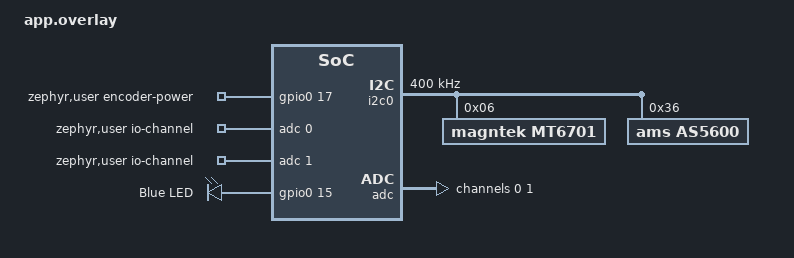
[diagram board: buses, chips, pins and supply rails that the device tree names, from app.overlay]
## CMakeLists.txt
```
cmake_minimum_required(VERSION 3.20.0)
find_package(Zephyr REQUIRED HINTS $ENV{ZEPHYR_BASE})

project(blescroll)

target_include_directories(app PRIVATE include)

target_sources(app PRIVATE
  src/main.c
  src/encoder.c
  src/encoder_math.c
  src/scroll_resolution.c
  src/ble_hid.c
  src/battery.c
  src/battery_math.c
  src/diagnostics.c
  src/heartbeat.c
)

# NCS 3.2.4 generates a UF2 whose blocks are relocated to the application
# partition, but whose reset vector is still linked at address zero.  Convert
# the correctly linked Intel HEX ourselves, preserving its physical addresses.
if(CONFIG_BLESCROLL_ENCODER_STARTUP_DIAGNOSTIC AND
   CONFIG_FLASH_BASE_ADDRESS STREQUAL "0x1000")
  set(UF2_OUTPUT_NAME blescroll_nosd_startup_diagnostic)
elseif(CONFIG_BLESCROLL_ENCODER_STARTUP_DIAGNOSTIC)
  set(UF2_OUTPUT_NAME blescroll_startup_diagnostic)
elseif(CONFIG_BLESCROLL_DIAGNOSTIC_BLE AND
       CONFIG_FLASH_BASE_ADDRESS STREQUAL "0x1000")
  set(UF2_OUTPUT_NAME blescroll_nosd_diagnostic_ble)
elseif(CONFIG_BLESCROLL_DIAGNOSTIC_BLE)
  set(UF2_OUTPUT_NAME blescroll_diagnostic_ble)
elseif(CONFIG_BLESCROLL_DIAGNOSTIC_MODE AND
       CONFIG_FLASH_BASE_ADDRESS STREQUAL "0x1000")
  set(UF2_OUTPUT_NAME blescroll_nosd_diagnostic)
elseif(CONFIG_BLESCROLL_DIAGNOSTIC_MODE)
  set(UF2_OUTPUT_NAME blescroll_diagnostic)
elseif(CONFIG_FLASH_BASE_ADDRESS STREQUAL "0x1000")
  set(UF2_OUTPUT_NAME blescroll_nosd)
else()
  set(UF2_OUTPUT_NAME blescroll)
endif()

add_custom_target(blescroll_uf2 ALL
  COMMAND ${Python3_EXECUTABLE} ${ZEPHYR_BASE}/scripts/build/uf2conv.py
    -c
    -f 0xada52840
    -o ${CMAKE_CURRENT_BINARY_DIR}/${UF2_OUTPUT_NAME}.uf2
    ${CMAKE_CURRENT_BINARY_DIR}/zephyr/zephyr.hex
  DEPENDS zephyr_final
  COMMENT "Generating correctly addressed ${UF2_OUTPUT_NAME}.uf2"
)
```

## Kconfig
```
mainmenu "AirScroll"

source "Kconfig.zephyr"

config BLESCROLL_RUNTIME_DIAGNOSTICS
	bool "Enable VBUS-gated runtime diagnostics"
	default n
	depends on SERIAL && USB_DEVICE_STACK_NEXT && USBD_CDC_ACM_CLASS && LOG
	help
	  Keep USB CDC and logging available in the product image, while enabling
	  the USB peripheral only when VBUS is present. Single-byte commands control
	  diagnostic output and the persistent Wheel resolution mode.

config BLESCROLL_DIAGNOSTIC_MODE
	bool "Enable USB diagnostic mode"
	default n
	help
	  Enable the USB CDC console and diagnostic-only application behaviour.
	  Normal battery firmware leaves this disabled and has no USB logging.

config BLESCROLL_DIAGNOSTIC_BLE
	bool "Enable Bluetooth while diagnostics are active"
	default n
	depends on BLESCROLL_DIAGNOSTIC_MODE
	help
	  Start Bluetooth and gate regular encoder sampling on an active BLE
	  connection while diagnostic mode is enabled.  If this is disabled,
	  regular diagnostic encoder sampling is allowed without a BLE connection.

config BLESCROLL_ENCODER_DIAGNOSTICS
	bool "Periodic encoder angle diagnostics"
	default n
	depends on BLESCROLL_DIAGNOSTIC_MODE && LOG
	help
	  Print rate-limited raw angle and Wheel data while the encoder is active.
	  Disable this option in builds used for power measurements.

config BLESCROLL_ENCODER_STARTUP_DIAGNOSTIC
	bool "Measure the detected encoder continuously for 50 ms after power-on"
	default n
	depends on BLESCROLL_DIAGNOSTIC_MODE && SERIAL
	help
	  Each byte received through USB CDC starts one power cycle. All angle
	  measurements collected during the first 50 ms are printed after sensor
	  power is switched off, so serial output cannot disturb the capture.
	  Bluetooth is controlled separately by BLESCROLL_DIAGNOSTIC_BLE.

config BLESCROLL_DIAGNOSTIC_START_GATE
	bool "Wait for a USB CDC byte before starting the application"
	default n
	depends on BLESCROLL_DIAGNOSTIC_MODE && SERIAL
	help
	  Wait for one byte on the console UART before initializing Bluetooth and
	  the encoder. This keeps the USB terminal attached while early startup
	  diagnostics are printed. Disable this option in normal firmware.
```

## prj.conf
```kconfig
# Core peripherals.
CONFIG_GPIO=y
CONFIG_ADC=y
CONFIG_I2C=y
# Keep both encoders on the same lightweight direct-register path.
CONFIG_AMS_AS5600=n

# The product image contains a dormant CDC ACM diagnostic channel. The USB
# device controller is enabled only while VBUS is present, and logging remains
# disabled until the host sends one uppercase D byte.
CONFIG_BOARD_SERIAL_BACKEND_CDC_ACM=y
CONFIG_SERIAL=y
CONFIG_UART_INTERRUPT_DRIVEN=y
CONFIG_USB_DEVICE_STACK_NEXT=y
CONFIG_USBD_CDC_ACM_CLASS=y
CONFIG_CDC_ACM_SERIAL_INITIALIZE_AT_BOOT=y
CONFIG_CDC_ACM_SERIAL_ENABLE_AT_BOOT=n
CONFIG_CDC_ACM_SERIAL_PRODUCT_STRING="AirScroll diagnostics"
CONFIG_CONSOLE=y
CONFIG_UART_CONSOLE=y
CONFIG_PRINTK=y
CONFIG_REBOOT=y
CONFIG_NCS_BOOT_BANNER=n
CONFIG_BOOT_BANNER=n
CONFIG_LOG=y
CONFIG_LOG_MODE_DEFERRED=y
CONFIG_LOG_RUNTIME_FILTERING=y
CONFIG_LOG_BACKEND_UART=y
CONFIG_LOG_BACKEND_UART_AUTOSTART=n
CONFIG_LOG_DEFAULT_LEVEL=3
CONFIG_LOG_MAX_LEVEL=3
CONFIG_LOG_BUFFER_SIZE=2048
CONFIG_LOG_PROCESS_THREAD_STACK_SIZE=1536
CONFIG_BLESCROLL_RUNTIME_DIAGNOSTICS=y

# BLE peripheral and persistent bonding.
CONFIG_BT=y
CONFIG_BT_PERIPHERAL=y
CONFIG_BT_SMP=y
CONFIG_BT_SETTINGS=y
CONFIG_BT_MAX_CONN=1
CONFIG_BT_MAX_PAIRED=2
CONFIG_BT_ATT_TX_COUNT=5
CONFIG_BT_DEVICE_NAME="AirScroll"
CONFIG_BT_DEVICE_APPEARANCE=962
CONFIG_BT_GATT_AUTO_SEC_REQ=n
CONFIG_BT_AUTO_PHY_UPDATE=n
CONFIG_BT_GAP_AUTO_UPDATE_CONN_PARAMS=y
CONFIG_BT_GAP_PERIPHERAL_PREF_PARAMS=y
CONFIG_BT_PERIPHERAL_PREF_MIN_INT=6
CONFIG_BT_PERIPHERAL_PREF_MAX_INT=8
CONFIG_BT_PERIPHERAL_PREF_LATENCY=0
CONFIG_BT_PERIPHERAL_PREF_TIMEOUT=42
CONFIG_BT_CONN_PARAM_UPDATE_TIMEOUT=5000

# HID over GATT: one encrypted mouse input report.
CONFIG_BT_HIDS=y
CONFIG_BT_BAS=y
CONFIG_BT_HIDS_MAX_CLIENT_COUNT=1
CONFIG_BT_HIDS_INPUT_REP_MAX=1
CONFIG_BT_HIDS_OUTPUT_REP_MAX=0
CONFIG_BT_HIDS_FEATURE_REP_MAX=1
CONFIG_BT_HIDS_DEFAULT_PERM_RW_ENCRYPT=y
CONFIG_BT_GATT_UUID16_POOL_SIZE=28
CONFIG_BT_GATT_CHRC_POOL_SIZE=13
CONFIG_BT_CONN_CTX=y

# Settings use the 32 KiB storage partition below the UF2 bootloader.
CONFIG_FLASH=y
CONFIG_FLASH_PAGE_LAYOUT=y
CONFIG_FLASH_MAP=y
CONFIG_NVS=y
CONFIG_NVS_INIT_BAD_MEMORY_REGION=y
CONFIG_SETTINGS=y
CONFIG_SETTINGS_NVS=y

CONFIG_MAIN_STACK_SIZE=3072
CONFIG_SYSTEM_WORKQUEUE_STACK_SIZE=2048

# The Adafruit UF2 bootloader on this board starts the application at 0x26000.
# Link the image at that physical address instead of only relocating its UF2
# blocks, otherwise the reset vector still points into the SoftDevice.
CONFIG_USE_DT_CODE_PARTITION=n
CONFIG_FLASH_BASE_ADDRESS=0x26000
CONFIG_FLASH_SIZE=792
CONFIG_FLASH_LOAD_OFFSET=0
CONFIG_FLASH_LOAD_SIZE=0xC6000

# blescroll.uf2 is generated from the linked HEX in CMakeLists.txt.
CONFIG_BUILD_OUTPUT_UF2=n
```

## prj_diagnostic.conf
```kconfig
# USB CDC and logging are present only in explicitly diagnostic builds.
CONFIG_BOARD_SERIAL_BACKEND_CDC_ACM=y
CONFIG_SERIAL=y
CONFIG_USB_DEVICE_STACK_NEXT=y
CONFIG_USBD_CDC_ACM_CLASS=y
CONFIG_CDC_ACM_SERIAL_INITIALIZE_AT_BOOT=y
CONFIG_CDC_ACM_SERIAL_ENABLE_AT_BOOT=y
CONFIG_CONSOLE=y
CONFIG_UART_CONSOLE=y
CONFIG_PRINTK=y
CONFIG_LOG=y
CONFIG_LOG_MODE_DEFERRED=y
CONFIG_LOG_BACKEND_UART=y
CONFIG_LOG_BACKEND_UART_AUTOSTART=y
CONFIG_LOG_DEFAULT_LEVEL=3
CONFIG_LOG_BUFFER_SIZE=4096
CONFIG_LOG_PROCESS_THREAD_STACK_SIZE=2048
CONFIG_BT_SECURITY_ERR_TO_STR=y

CONFIG_BLESCROLL_DIAGNOSTIC_MODE=y
CONFIG_BLESCROLL_RUNTIME_DIAGNOSTICS=n
CONFIG_BLESCROLL_DIAGNOSTIC_BLE=n
CONFIG_BLESCROLL_ENCODER_DIAGNOSTICS=y
CONFIG_BLESCROLL_DIAGNOSTIC_START_GATE=n
```

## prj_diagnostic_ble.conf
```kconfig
# Add this fragment after prj_diagnostic.conf to exercise BLE during diagnostics.
CONFIG_BLESCROLL_DIAGNOSTIC_BLE=y
```

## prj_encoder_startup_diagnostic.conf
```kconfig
CONFIG_BLESCROLL_ENCODER_STARTUP_DIAGNOSTIC=y
CONFIG_BLESCROLL_ENCODER_DIAGNOSTICS=n
CONFIG_BLESCROLL_DIAGNOSTIC_START_GATE=n
```

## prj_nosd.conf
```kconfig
# The UF2 bootloader reports "SoftDevice: not found" and starts applications
# immediately after the 4 KiB Nordic MBR region.
CONFIG_FLASH_BASE_ADDRESS=0x1000
CONFIG_FLASH_SIZE=932
CONFIG_FLASH_LOAD_OFFSET=0
CONFIG_FLASH_LOAD_SIZE=0xE9000
```

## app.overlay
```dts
#include <zephyr/dt-bindings/adc/nrf-adc.h>
#include <zephyr/dt-bindings/gpio/nordic-nrf-gpio.h>
#include <zephyr/dt-bindings/i2c/i2c.h>
#include <zephyr/dt-bindings/pinctrl/nrf-pinctrl.h>

/ {
	zephyr,user {
		/* Encoder OUT -> P0.02/AIN0; battery divider -> P0.04/AIN2. */
		io-channels = <&adc 0>, <&adc 1>;

		/*
		 * P0.17 drives encoder power or, preferably, the enable input of a
		 * 3.3 V load switch. High drive is selected for direct-power tests.
		 */
		encoder-power-gpios = <&gpio0 17
			(GPIO_ACTIVE_HIGH | NRF_GPIO_DRIVE_H0H1)>;
	};
};

/* Digital angle: SDA=P1.00, SCL=P0.11, 400 kHz. */
&i2c0 {
	status = "okay";
	clock-frequency = <I2C_BITRATE_FAST>;

	mt6701: encoder@6 {
		compatible = "magntek,mt6701";
		reg = <0x06>;
	};

	as5600: encoder@36 {
		compatible = "ams,as5600";
		reg = <0x36>;
	};
};

&i2c0_default {
	group1 {
		psels = <NRF_PSEL(TWIM_SDA, 1, 0)>,
			<NRF_PSEL(TWIM_SCL, 0, 11)>;
		bias-pull-up;
	};
};

&i2c0_sleep {
	group1 {
		psels = <NRF_PSEL(TWIM_SDA, 1, 0)>,
			<NRF_PSEL(TWIM_SCL, 0, 11)>;
		low-power-enable;
	};
};

&adc {
	#address-cells = <1>;
	#size-cells = <0>;
	status = "okay";

	channel@0 {
		reg = <0>;
		zephyr,gain = "ADC_GAIN_1_4";
		zephyr,reference = "ADC_REF_VDD_1_4";
		zephyr,acquisition-time = <ADC_ACQ_TIME(ADC_ACQ_TIME_MICROSECONDS, 10)>;
		zephyr,input-positive = <NRF_SAADC_AIN0>;
		zephyr,resolution = <12>;
		zephyr,oversampling = <2>;
	};

	channel@1 {
		reg = <1>;
		zephyr,gain = "ADC_GAIN_1_6";
		zephyr,reference = "ADC_REF_INTERNAL";
		/* Long acquisition time for the high-impedance 806k/2M divider. */
		zephyr,acquisition-time = <ADC_ACQ_TIME(ADC_ACQ_TIME_MICROSECONDS, 40)>;
		zephyr,input-positive = <NRF_SAADC_AIN2>;
		zephyr,resolution = <12>;
		zephyr,oversampling = <2>;
	};
};

/* The status LED on this nice!nano-compatible board is active-high. */
&led0 {
	gpios = <&gpio0 15 GPIO_ACTIVE_HIGH>;
	label = "Blue LED";
};
```

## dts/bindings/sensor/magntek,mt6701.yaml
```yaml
description: MagnTek MT6701 magnetic angle sensor

compatible: "magntek,mt6701"

include: i2c-device.yaml
```

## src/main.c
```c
#include <errno.h>

#include <zephyr/device.h>
#include <zephyr/devicetree.h>
#include <zephyr/drivers/uart.h>
#include <zephyr/kernel.h>
#include <zephyr/logging/log.h>
#include <zephyr/sys/printk.h>

#include "ble_hid.h"
#include "battery.h"
#include "diagnostics.h"
#include "encoder.h"
#include "heartbeat.h"
#include "scroll_resolution.h"

LOG_MODULE_REGISTER(app, LOG_LEVEL_INF);

static struct k_sem diagnostic_trigger_sem;
static unsigned char diagnostic_trigger_byte;

static void diagnostic_uart_callback(const struct device *dev, void *user_data)
{
	ARG_UNUSED(user_data);

	while (uart_irq_update(dev) && uart_irq_is_pending(dev)) {
		if (!uart_irq_rx_ready(dev)) {
			continue;
		}

		unsigned char received;
		int read = uart_fifo_read(dev, &received, 1);
		if (read > 0) {
			diagnostic_trigger_byte = received;
			uart_irq_rx_disable(dev);
			k_sem_give(&diagnostic_trigger_sem);
			return;
		}
	}
}

static int diagnostic_start_wait(void)
{
	const struct device *const console = DEVICE_DT_GET(DT_CHOSEN(zephyr_console));
	int err;

	if (!IS_ENABLED(CONFIG_BLESCROLL_DIAGNOSTIC_START_GATE)) {
		return 0;
	}

	if (!device_is_ready(console)) {
		return -ENODEV;
	}

	k_sem_init(&diagnostic_trigger_sem, 0, 1);
	err = uart_irq_callback_user_data_set(console, diagnostic_uart_callback, NULL);
	if (err < 0) {
		return err;
	}

	printk("\r\n=== blescroll diagnostic startup ===\r\n");
	printk("Waiting for USB CDC trigger byte...\r\n");
	uart_irq_rx_enable(console);

	k_sem_take(&diagnostic_trigger_sem, K_FOREVER);
	printk("USB trigger received: 0x%02x\r\n", diagnostic_trigger_byte);
	return 0;
}

static int startup_diagnostic_trigger_prepare(void)
{
	const struct device *const console = DEVICE_DT_GET(DT_CHOSEN(zephyr_console));
	int err;

	if (!device_is_ready(console)) {
		return -ENODEV;
	}

	k_sem_init(&diagnostic_trigger_sem, 0, 1);
	err = uart_irq_callback_user_data_set(console, diagnostic_uart_callback, NULL);
	if (err < 0) {
		return err;
	}

	return 0;
}

static void startup_diagnostic_trigger_wait(void)
{
	printk("Send any byte to capture the first 50 ms after encoder power-on...\r\n");
	uart_irq_rx_enable(DEVICE_DT_GET(DT_CHOSEN(zephyr_console)));
	k_sem_take(&diagnostic_trigger_sem, K_FOREVER);
}

static bool bluetooth_should_start(void)
{
	return !IS_ENABLED(CONFIG_BLESCROLL_DIAGNOSTIC_MODE) ||
	       IS_ENABLED(CONFIG_BLESCROLL_DIAGNOSTIC_BLE);
}

static int bluetooth_and_battery_start(void)
{
	int err;

	if (!bluetooth_should_start()) {
		printk("Bluetooth disabled by diagnostic configuration\r\n");
		return 0;
	}

	if (IS_ENABLED(CONFIG_BLESCROLL_DIAGNOSTIC_MODE)) {
		printk("main: starting BLE initialization\r\n");
	}
	err = ble_hid_init();
	if (err < 0) {
		LOG_ERR("BLE startup failed: %d", err);
		return err;
	}

	err = battery_init();
	if (err < 0) {
		LOG_ERR("Battery monitor initialization failed: %d", err);
	}

	return 0;
}

int main(void)
{
	int err;

	err = heartbeat_init();
	if (err < 0) {
		LOG_WRN("Heartbeat initialization failed: %d", err);
	}

	err = diagnostics_init();
	if (err < 0) {
		LOG_ERR("Runtime diagnostics initialization failed: %d", err);
	}

	err = scroll_resolution_init();
	if (err < 0) {
		LOG_ERR("Scroll resolution initialization failed: %d", err);
	}

	if (IS_ENABLED(CONFIG_BLESCROLL_ENCODER_STARTUP_DIAGNOSTIC)) {
		err = startup_diagnostic_trigger_prepare();
		if (err < 0) {
			printk("startup diagnostic trigger setup failed: %d\r\n", err);
			return err;
		}

		err = bluetooth_and_battery_start();
		if (err < 0) {
			return err;
		}

		err = encoder_init();
		if (err < 0) {
			printk("encoder startup failed: %d\r\n", err);
			return err;
		}

		printk("\r\n=== encoder startup diagnostic ===\r\n");
		printk("Bluetooth during diagnostics: %s\r\n",
		       bluetooth_should_start() ? "enabled" : "disabled");
		while (true) {
			startup_diagnostic_trigger_wait();
			encoder_startup_diagnostic_run();
		}
	}

	err = diagnostic_start_wait();
	if (err < 0) {
		printk("diagnostic_start_wait: %d\r\n", err);
		return err;
	}

	err = bluetooth_and_battery_start();
	if (err < 0) {
		return err;
	}

	LOG_INF("Starting encoder initialization");
	err = encoder_init();
	if (err < 0) {
		LOG_ERR("Encoder startup failed: %d", err);
		return err;
	}

	LOG_INF("Startup complete");
	encoder_run();
	return 0;
}
```

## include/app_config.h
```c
#ifndef BLESCROLL_APP_CONFIG_H_
#define BLESCROLL_APP_CONFIG_H_

/* Common encoder angle geometry and the lower-resolution AS5600/SAADC input. */
#define ENCODER_ANGLE_RESOLUTION_BITS        14U
#define ENCODER_ANGLE_MODULUS                (1U << ENCODER_ANGLE_RESOLUTION_BITS)
#define ENCODER_ANGLE_MAX_CODE               (ENCODER_ANGLE_MODULUS - 1U)
#define ENCODER_ANGLE_HALF_TURN              (ENCODER_ANGLE_MODULUS / 2U)
#define ENCODER_ADC_RESOLUTION_BITS          12U
#define ENCODER_ADC_MODULUS                  (1U << ENCODER_ADC_RESOLUTION_BITS)
#define ENCODER_ADC_MAX_CODE                 (ENCODER_ADC_MODULUS - 1U)
#define ENCODER_FULL_TURN_CENTIDEGREES       36000U

/*
 * Default MT6701 analog output spans 0..VDD. Override these endpoints after
 * bench calibration if the sensor EEPROM is configured for 10..90% clamps.
 */
#define ENCODER_VOUT_MIN_CODE                0U
#define ENCODER_VOUT_MAX_CODE                ENCODER_ADC_MAX_CODE

/* Power-cycled idle probing. */
#define ENCODER_IDLE_FAST_POLL_PERIOD_MS     100U
#define ENCODER_IDLE_SLOW_POLL_PERIOD_MS     200U
#define ENCODER_IDLE_FAST_DURATION_MS        10000U
#define ENCODER_MT6701_POWER_STABILIZE_MS    33U
#define ENCODER_AS5600_POWER_STABILIZE_MS    11U
#define ENCODER_DETECTION_STABILIZE_MS       ENCODER_MT6701_POWER_STABILIZE_MS

/* Active tracking. */
#define ENCODER_ACTIVE_POLL_PERIOD_MS        2U
#define ENCODER_ACTIVE_TIMEOUT_MS            400U

/* Eight readings, each with SAADC oversampling from Devicetree. */
#define ENCODER_FILTER_SAMPLE_COUNT          8U
#define ENCODER_FILTER_DISCARD_COUNT         1U

/* Runtime I2C angle smoothing. Alpha is stored as Q8 (64/256 = 1/4). */
#define ENCODER_I2C_EMA_ALPHA_Q8             64U

/* Circular 14-bit angle counts. Tune after observing real hardware. */
#define ENCODER_IDLE_MOTION_THRESHOLD_COUNTS 32
#define ENCODER_ACTIVE_NOISE_COUNTS          16
#define ENCODER_COUNTS_PER_SCROLL_DETENT     256
#define ENCODER_SCROLL_DIRECTION             1

/* Optional scroll acceleration. All multipliers use unsigned Q8. */
#define ENCODER_ACCELERATION_Q8_ONE                 256U
#define ENCODER_ACCELERATION_Q8_MAX                 512U
#define ENCODER_ACCELERATION_ACTIVATION_COUNTS      2048U
#define ENCODER_ACCELERATION_IDLE_RESET_MS          100U
#define ENCODER_ACCELERATION_BUCKET_MS              10U
#define ENCODER_ACCELERATION_BUCKET_COUNT           8U
#define ENCODER_ACCELERATION_WINDOW_MS              \
	(ENCODER_ACCELERATION_BUCKET_MS * ENCODER_ACCELERATION_BUCKET_COUNT)
#define ENCODER_ACCELERATION_SPEED_MIN_COUNTS_S     6552U
#define ENCODER_ACCELERATION_SPEED_MAX_COUNTS_S     32768U

/* Avoid flooding diagnostics if an unpowered or absent I2C sensor NACKs. */
#define ENCODER_I2C_ERROR_LOG_PERIOD_MS             1000U

/*
 * The HID descriptor advertises x16. Runtime modes can coarsen those x16 units
 * to x8 or legacy x1 without changing the resulting scroll distance. The host
 * selects whether it understands high-resolution units through the Feature
 * report; unsupported hosts keep using one report unit per detent.
 */
#define BLE_HID_WHEEL_RESOLUTION_MULTIPLIER  16U

/* Do not flood USB CDC while sampling the encoder at 500 Hz. */
#define ENCODER_DIAGNOSTIC_BURST_COUNT       20U
#define ENCODER_DIAGNOSTIC_PERIOD_MS         25U
#define ENCODER_STARTUP_CAPTURE_DURATION_US  50000U
#define ENCODER_STARTUP_CAPTURE_MAX_SAMPLES  1024U

/* HID Wheel is an 8-bit signed relative field. */
#define BLE_HID_INPUT_REPORT_ID              1U
#define BLE_HID_INPUT_REPORT_SIZE            4U
#define BLE_HID_INPUT_REPORT_INDEX           0U
#define BLE_HID_FEATURE_REPORT_ID            2U
#define BLE_HID_FEATURE_REPORT_SIZE          1U
#define BLE_HID_FEATURE_REPORT_INDEX         0U
#define BLE_HID_SCROLL_RETRY_MS              5U
#define BLE_HID_SCROLL_MAX_RETRIES           25U
#define BLE_HID_PENDING_LIMIT                2048

/* Battery monitor: BAT+ -> 806 kohm -> P0.04 -> 2 Mohm -> GND. */
#define BATTERY_DIVIDER_TOP_OHMS             806000U
#define BATTERY_DIVIDER_BOTTOM_OHMS          2000000U
#define BATTERY_ADC_SAMPLE_COUNT             8U
#define BATTERY_ADC_DISCARD_COUNT            1U
#define BATTERY_UPDATE_PERIOD_MS             60000U
#define BATTERY_FIRST_UPDATE_DELAY_MS        1000U
#define BATTERY_EMPTY_MV                     3300U
#define BATTERY_MID_MV                       3700U
#define BATTERY_FULL_MV                      4200U

#endif /* BLESCROLL_APP_CONFIG_H_ */
```

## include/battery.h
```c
#ifndef BLESCROLL_BATTERY_H_
#define BLESCROLL_BATTERY_H_

int battery_init(void);
void battery_diagnostic_print(void);

#endif /* BLESCROLL_BATTERY_H_ */
```

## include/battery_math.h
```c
#ifndef BLESCROLL_BATTERY_MATH_H_
#define BLESCROLL_BATTERY_MATH_H_

#include <stdint.h>

uint8_t battery_voltage_to_percent(int32_t millivolts);

#endif /* BLESCROLL_BATTERY_MATH_H_ */
```

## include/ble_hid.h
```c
#ifndef BLESCROLL_BLE_HID_H_
#define BLESCROLL_BLE_HID_H_

#include <stdbool.h>
#include <stdint.h>

int ble_hid_init(void);
void ble_hid_scroll_enqueue(int32_t delta);
bool ble_hid_is_connected(void);
void ble_hid_diagnostic_print(void);

#endif /* BLESCROLL_BLE_HID_H_ */
```

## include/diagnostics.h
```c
#ifndef BLESCROLL_DIAGNOSTICS_H_
#define BLESCROLL_DIAGNOSTICS_H_

#include <stdbool.h>

int diagnostics_init(void);
bool diagnostics_is_enabled(void);

#endif /* BLESCROLL_DIAGNOSTICS_H_ */
```

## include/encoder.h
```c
#ifndef BLESCROLL_ENCODER_H_
#define BLESCROLL_ENCODER_H_

int encoder_init(void);
void encoder_run(void);
void encoder_startup_diagnostic_run(void);
void encoder_diagnostic_print(void);
void encoder_source_diagnostic_print(void);

#endif /* BLESCROLL_ENCODER_H_ */
```

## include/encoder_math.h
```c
#ifndef BLESCROLL_ENCODER_MATH_H_
#define BLESCROLL_ENCODER_MATH_H_

#include <stdbool.h>
#include <stddef.h>
#include <stdint.h>

#include "app_config.h"

struct encoder_acceleration_state {
	uint32_t buckets[ENCODER_ACCELERATION_BUCKET_COUNT];
	uint32_t window_counts;
	uint32_t activation_counts;
	uint32_t speed_counts_per_s;
	int32_t fractional_remainder_q8;
	uint16_t idle_ms;
	uint16_t factor_q8;
	uint8_t bucket_index;
	uint8_t samples_in_bucket;
	int8_t direction;
	bool enabled;
	bool skip_next_motion;
};

struct encoder_angle_ema_state {
	bool valid;
	int32_t angle_q8;
};

uint16_t encoder_adc_normalize(uint16_t raw_sample);
uint16_t encoder_mt6701_decode_angle(uint8_t msb, uint8_t lsb);
uint16_t encoder_as5600_decode_angle(uint8_t msb, uint8_t lsb);
int16_t encoder_angle_delta(uint16_t current, uint16_t previous);
void encoder_angle_ema_reset(struct encoder_angle_ema_state *state);
uint16_t encoder_angle_ema_update(
	struct encoder_angle_ema_state *state, uint16_t raw_angle);
int encoder_angle_filter(const uint16_t samples[ENCODER_FILTER_SAMPLE_COUNT],
			 uint16_t *angle);
int32_t encoder_scroll_accumulate(int32_t delta, uint8_t resolution_multiplier,
				  int32_t *remainder);
void encoder_acceleration_reset(struct encoder_acceleration_state *state,
				bool enabled);
uint16_t encoder_acceleration_factor_q8(uint32_t speed_counts_per_s);
int32_t encoder_acceleration_scale_q8(int32_t delta, uint16_t factor_q8,
				      int32_t *fractional_remainder_q8);
int32_t encoder_acceleration_apply(struct encoder_acceleration_state *state,
				   int16_t delta, bool enabled,
				   bool include_in_estimate);

#endif /* BLESCROLL_ENCODER_MATH_H_ */
```

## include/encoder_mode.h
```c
#ifndef BLESCROLL_ENCODER_MODE_H_
#define BLESCROLL_ENCODER_MODE_H_

enum encoder_mode {
	ENCODER_MODE_I2C = 0,
	ENCODER_MODE_ADC = 1,
};

#define ENCODER_MODE_DEFAULT ENCODER_MODE_I2C

int encoder_mode_set(enum encoder_mode mode);
enum encoder_mode encoder_mode_get(void);
const char *encoder_mode_name(enum encoder_mode mode);

#endif /* BLESCROLL_ENCODER_MODE_H_ */
```

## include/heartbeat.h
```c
#ifndef BLESCROLL_HEARTBEAT_H_
#define BLESCROLL_HEARTBEAT_H_

int heartbeat_init(void);

#endif /* BLESCROLL_HEARTBEAT_H_ */
```

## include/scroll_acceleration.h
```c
#ifndef BLESCROLL_SCROLL_ACCELERATION_H_
#define BLESCROLL_SCROLL_ACCELERATION_H_

#include <stdbool.h>

#define SCROLL_ACCELERATION_DEFAULT_ENABLED false

int scroll_acceleration_set(bool enabled);
bool scroll_acceleration_get(void);
const char *scroll_acceleration_name_get(void);

#endif /* BLESCROLL_SCROLL_ACCELERATION_H_ */
```

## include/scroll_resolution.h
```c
#ifndef BLESCROLL_SCROLL_RESOLUTION_H_
#define BLESCROLL_SCROLL_RESOLUTION_H_

#include <stdint.h>

enum scroll_resolution_mode {
	SCROLL_RESOLUTION_MODE_OFF = 0,
	SCROLL_RESOLUTION_MODE_X8 = 1,
	SCROLL_RESOLUTION_MODE_X16 = 2,
};

#define SCROLL_RESOLUTION_DEFAULT_MODE SCROLL_RESOLUTION_MODE_X16
#define SCROLL_RESOLUTION_OFF_MULTIPLIER 1U
#define SCROLL_RESOLUTION_X8_MULTIPLIER 8U
#define SCROLL_RESOLUTION_X16_MULTIPLIER 16U

int scroll_resolution_init(void);
int scroll_resolution_set(enum scroll_resolution_mode mode);
enum scroll_resolution_mode scroll_resolution_get(void);
uint8_t scroll_resolution_multiplier_get(void);
const char *scroll_resolution_name_get(void);

#endif /* BLESCROLL_SCROLL_RESOLUTION_H_ */
```

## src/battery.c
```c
#include "battery.h"

#include <errno.h>
#include <stdbool.h>
#include <stdint.h>

#include <zephyr/bluetooth/services/bas.h>
#include <zephyr/device.h>
#include <zephyr/devicetree.h>
#include <zephyr/drivers/adc.h>
#include <zephyr/kernel.h>
#include <zephyr/logging/log.h>
#include <zephyr/sys/atomic.h>
#include <zephyr/sys/printk.h>
#include <zephyr/sys/util.h>

#include "app_config.h"
#include "battery_math.h"

LOG_MODULE_REGISTER(battery, LOG_LEVEL_INF);

#define USER_NODE DT_PATH(zephyr_user)
static const struct adc_dt_spec battery_adc = ADC_DT_SPEC_GET_BY_IDX(USER_NODE, 1);
static uint8_t last_battery_level;
static bool battery_level_valid;
static atomic_t diagnostic_battery_valid;
static atomic_t diagnostic_battery_mv;
static atomic_t diagnostic_battery_pin_mv;
static atomic_t diagnostic_battery_raw;
static atomic_t diagnostic_battery_level;
static struct k_work_delayable battery_update_work;

static int battery_voltage_read(int32_t *millivolts, int32_t *pin_millivolts,
				int32_t *raw_average)
{
	int64_t pin_mv_sum = 0;
	int64_t raw_sum = 0;

	for (size_t index = 0U;
	     index < BATTERY_ADC_DISCARD_COUNT + BATTERY_ADC_SAMPLE_COUNT;
	     ++index) {
		int16_t raw_sample = 0;
		int32_t pin_mv;
		int err;
		struct adc_sequence sequence = {
			.buffer = &raw_sample,
			.buffer_size = sizeof(raw_sample),
		};

		err = adc_sequence_init_dt(&battery_adc, &sequence);
		if (err < 0) {
			return err;
		}
		err = adc_read_dt(&battery_adc, &sequence);
		if (err < 0) {
			return err;
		}
		pin_mv = MAX(raw_sample, 0);
		err = adc_raw_to_millivolts_dt(&battery_adc, &pin_mv);
		if (err < 0) {
			return err;
		}
		if (index >= BATTERY_ADC_DISCARD_COUNT) {
			raw_sum += MAX(raw_sample, 0);
			pin_mv_sum += pin_mv;
		}
	}

	*raw_average = (int32_t)(raw_sum / BATTERY_ADC_SAMPLE_COUNT);
	*pin_millivolts = (int32_t)(pin_mv_sum / BATTERY_ADC_SAMPLE_COUNT);
	*millivolts = (int32_t)((pin_mv_sum *
		(BATTERY_DIVIDER_TOP_OHMS + BATTERY_DIVIDER_BOTTOM_OHMS)) /
		(BATTERY_ADC_SAMPLE_COUNT * BATTERY_DIVIDER_BOTTOM_OHMS));
	return 0;
}

static void battery_update_work_handler(struct k_work *work)
{
	int32_t millivolts;
	int32_t pin_millivolts;
	int32_t raw_average;
	uint8_t level;
	int err;

	ARG_UNUSED(work);
	err = battery_voltage_read(&millivolts, &pin_millivolts, &raw_average);
	if (err < 0) {
		LOG_WRN("Battery ADC read failed: %d", err);
		goto schedule_next;
	}

	level = battery_voltage_to_percent(millivolts);
	atomic_set(&diagnostic_battery_mv, millivolts);
	atomic_set(&diagnostic_battery_pin_mv, pin_millivolts);
	atomic_set(&diagnostic_battery_raw, raw_average);
	atomic_set(&diagnostic_battery_level, level);
	atomic_set(&diagnostic_battery_valid, 1);
	if (!battery_level_valid || level != last_battery_level) {
		err = bt_bas_set_battery_level(level);
		if (err < 0) {
			LOG_WRN("Battery level update failed: %d", err);
		} else {
			last_battery_level = level;
			battery_level_valid = true;
		}
	}
	LOG_INF("Battery: %d mV, %u%%", millivolts, level);

schedule_next:
	(void)k_work_reschedule(&battery_update_work, K_MSEC(BATTERY_UPDATE_PERIOD_MS));
}

int battery_init(void)
{
	int err;

	if (!adc_is_ready_dt(&battery_adc)) {
		return -ENODEV;
	}
	err = adc_channel_setup_dt(&battery_adc);
	if (err < 0) {
		return err;
	}
	k_work_init_delayable(&battery_update_work, battery_update_work_handler);
	LOG_INF("Battery monitor: AIN2/P0.04, divider %u/%u ohm, update=%u ms",
		BATTERY_DIVIDER_TOP_OHMS, BATTERY_DIVIDER_BOTTOM_OHMS,
		BATTERY_UPDATE_PERIOD_MS);
	(void)k_work_reschedule(&battery_update_work,
		K_MSEC(BATTERY_FIRST_UPDATE_DELAY_MS));
	return 0;
}

void battery_diagnostic_print(void)
{
	if (!atomic_get(&diagnostic_battery_valid)) {
		printk("battery: no sample yet; update=%u ms\r\n",
		       BATTERY_UPDATE_PERIOD_MS);
		return;
	}

	printk("battery: %d mV (ADC pin: %d mV, raw: %d), %u%%; update=%u ms\r\n",
	       (int)atomic_get(&diagnostic_battery_mv),
	       (int)atomic_get(&diagnostic_battery_pin_mv),
	       (int)atomic_get(&diagnostic_battery_raw),
	       (unsigned int)atomic_get(&diagnostic_battery_level),
	       BATTERY_UPDATE_PERIOD_MS);
}
```
